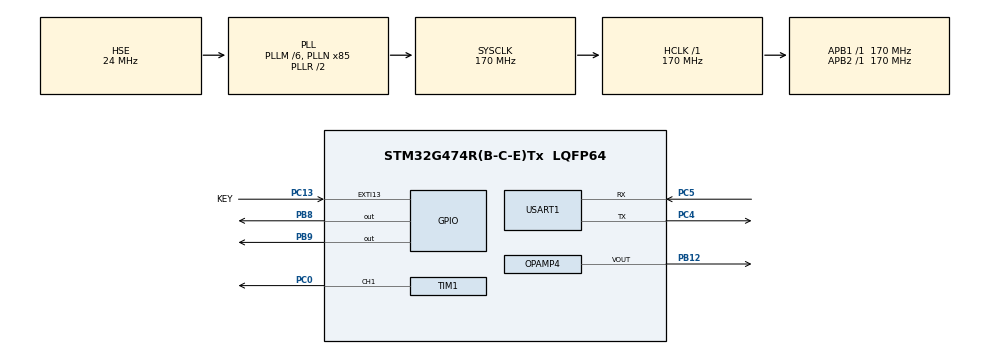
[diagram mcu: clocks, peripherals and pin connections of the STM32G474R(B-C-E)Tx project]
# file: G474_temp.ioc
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DAC4.DAC_Trigger_OUT1-DAC_OUT1_Int=DAC_TRIGGER_T6_TRGO
Dma.DAC4_CH1.0.Direction=DMA_MEMORY_TO_PERIPH
Dma.DAC4_CH1.0.EventEnable=DISABLE
Dma.DAC4_CH1.0.Instance=DMA1_Channel1
Dma.DAC4_CH1.0.MemDataAlignment=DMA_MDATAALIGN_HALFWORD
Dma.DAC4_CH1.0.MemInc=DMA_MINC_ENABLE
Dma.DAC4_CH1.0.Mode=DMA_CIRCULAR
Dma.DAC4_CH1.0.PeriphDataAlignment=DMA_PDATAALIGN_WORD
Dma.DAC4_CH1.0.PeriphInc=DMA_PINC_DISABLE
Dma.DAC4_CH1.0.Polarity=HAL_DMAMUX_REQ_GEN_RISING
Dma.DAC4_CH1.0.Priority=DMA_PRIORITY_LOW
Dma.DAC4_CH1.0.RequestNumber=1
Dma.DAC4_CH1.0.SignalID=NONE
Dma.DAC4_CH1.0.SyncEnable=DISABLE
Dma.DAC4_CH1.0.SyncPolarity=HAL_DMAMUX_SYNC_NO_EVENT
Dma.DAC4_CH1.0.SyncRequestNumber=1
Dma.DAC4_CH1.0.SyncSignalID=NONE
Dma.Request0=DAC4_CH1
Mcu.Family=STM32G4
Mcu.Name=STM32G474R(B-C-E)Tx
Mcu.Package=LQFP64
NVIC.DMA1_Channel1_IRQn=true\:0\:0\:false\:false\:true\:false\:true\:true
NVIC.EXTI15_10_IRQn=true\:0\:0\:false\:false\:true\:true\:true\:true
NVIC.PriorityGroup=NVIC_PRIORITYGROUP_4
NVIC.USART1_IRQn=true\:0\:0\:false\:false\:true\:true\:true\:true
PA13.Mode=Serial_Wire
PA13.Signal=SYS_JTMS-SWDIO
PA14.Mode=Serial_Wire
PA14.Signal=SYS_JTCK-SWCLK
PB12.Mode=Follower-DAC_OUT2-INP
PB12.Signal=OPAMP4_VOUT
PB8-BOOT0.GPIO_FM8=__NULL
PB8-BOOT0.GPIO_ModeDefaultOutputPP=GPIO_MODE_OUTPUT_OD
PB8-BOOT0.GPIO_PuPd=GPIO_PULLUP
PB8-BOOT0.GPIO_Speed=GPIO_SPEED_FREQ_VERY_HIGH
PB8-BOOT0.Signal=GPIO_Output
PB9.GPIO_ModeDefaultOutputPP=GPIO_MODE_OUTPUT_OD
PB9.GPIO_PuPd=GPIO_PULLUP
PB9.GPIO_Speed=GPIO_SPEED_FREQ_VERY_HIGH
PB9.Signal=GPIO_Output
PC0.Signal=S_TIM1_CH1
PC13.GPIO_Label=KEY
PC13.Signal=GPXTI13
PC14-OSC32_IN.Mode=LSE-External-Oscillator
PC14-OSC32_IN.Signal=RCC_OSC32_IN
PC15-OSC32_OUT.Mode=LSE-External-Oscillator
PC15-OSC32_OUT.Signal=RCC_OSC32_OUT
PC4.Mode=Asynchronous
PC4.Signal=USART1_TX
PC5.Mode=Asynchronous
PC5.Signal=USART1_RX
PF0-OSC_IN.Mode=HSE-External-Oscillator
PF0-OSC_IN.Signal=RCC_OSC_IN
PF1-OSC_OUT.Mode=HSE-External-Oscillator
PF1-OSC_OUT.Signal=RCC_OSC_OUT
ProjectManager.HeapSize=0x200
ProjectManager.StackSize=0x400
ProjectManager.TargetToolchain=MDK-ARM V5.32
RCC.ADC12Freq_Value=170000000
RCC.ADC345Freq_Value=170000000
RCC.AHBFreq_Value=170000000
RCC.APB1Freq_Value=170000000
RCC.APB1TimFreq_Value=170000000
RCC.APB2Freq_Value=170000000
RCC.APB2TimFreq_Value=170000000
RCC.CortexFreq_Value=170000000
RCC.EXTERNAL_CLOCK_VALUE=12288000
RCC.HCLKFreq_Value=170000000
RCC.HSE_VALUE=24000000
RCC.HSI48_VALUE=48000000
RCC.HSI_VALUE=16000000
RCC.PLLM=RCC_PLLM_DIV6
RCC.PLLN=85
RCC.PLLSourceVirtual=RCC_PLLSOURCE_HSE
RCC.RTCClockSelection=RCC_RTCCLKSOURCE_LSE
RCC.SYSCLKFreq_VALUE=170000000
RCC.SYSCLKSource=RCC_SYSCLKSOURCE_PLLCLK
RCC.USBFreq_Value=170000000
RCC.VCOOutputFreq_Value=340000000
SH.S_TIM1_CH1.0=TIM1_CH1,PWM Generation1 CH1
TIM1.Channel-PWM\ Generation1\ CH1=TIM_CHANNEL_1
TIM1.PeriodNoDither=2000-1
TIM1.Prescaler=17-1
TIM1.PulseNoDither_1=1000
TIM6.PeriodNoDither=170-1
TIM6.TIM_MasterOutputTrigger=TIM_TRGO_UPDATE
USART1.VirtualMode-Asynchronous=VM_ASYNC
VP_DAC4_VS_DACI1.Mode=DAC_OUT1_Int
VP_SYS_VS_DBSignals.Mode=DisableDeadBatterySignals
VP_TIM1_VS_ClockSourceINT.Mode=Internal
VP_TIM6_VS_ClockSourceINT.Mode=Enable_Timer
board=NUCLEO-G474RE

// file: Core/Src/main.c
/* USER CODE BEGIN Header */
/**
  ******************************************************************************
  * @file           : main.c
  * @brief          : Main program body
  ******************************************************************************
  * @attention
  *
  * Copyright (c) 2023 STMicroelectronics.
  * All rights reserved.
  *
  * This software is licensed under terms that can be found in the LICENSE file
  * in the root directory of this software component.
  * If no LICENSE file comes with this software, it is provided AS-IS.
  *
  ******************************************************************************
  */
/* USER CODE END Header */
#include "main.h"
#include "dac.h"
#include "dma.h"
#include "opamp.h"
#include "tim.h"
#include "usart.h"
#include "gpio.h"

/* USER CODE BEGIN Includes */
#include "delay.h"
#include "myusart1.h"
#include "OLED_I2C.h"
#include "BACKGROUND.h"
#include "TIME.h"
#include "WAVE.h"

/* USER CODE END Includes */

void SystemClock_Config(void);

int main(void)
{

  /* MCU Configuration--------------------------------------------------------*/

  /* Reset of all peripherals, Initializes the Flash interface and the Systick. */
  HAL_Init();

  /* Configure the system clock */
  SystemClock_Config();

  /* Initialize all configured peripherals */
  MX_GPIO_Init();
  MX_DMA_Init();
  MX_USART1_UART_Init();
  MX_TIM6_Init();
  MX_TIM1_Init();
  MX_DAC4_Init();
  MX_OPAMP4_Init();
  /* USER CODE BEGIN 2 */
  delay_init(170);
  MyUSART1_Init(&huart1);

  OLED_Init();
  OLED_ON();
  OLED_CLS();

  BackGround_Init();
  fre_ampShow();
  select(sine);
  sin_Generation(1);
  squ_Generation(1);
  tri_Generation(1);

  TIM6_Init(5000*500);
  HAL_OPAMP_Start(&hopamp4);
  WaveStart(sine);
  HAL_TIM_PWM_Start(&htim1,TIM_CHANNEL_1);
  /* USER CODE END 2 */

  /* Infinite loop */
  while (1)
  {

  }
}

void SystemClock_Config(void)
{
  RCC_OscInitTypeDef RCC_OscInitStruct = {0};
  RCC_ClkInitTypeDef RCC_ClkInitStruct = {0};

  /** Configure the main internal regulator output voltage
  */
  HAL_PWREx_ControlVoltageScaling(PWR_REGULATOR_VOLTAGE_SCALE1_BOOST);

  /** Initializes the RCC Oscillators according to the specified parameters
  * in the RCC_OscInitTypeDef structure.
  */
  RCC_OscInitStruct.OscillatorType = RCC_OSCILLATORTYPE_HSE;
  RCC_OscInitStruct.HSEState = RCC_HSE_ON;
  RCC_OscInitStruct.PLL.PLLState = RCC_PLL_ON;
  RCC_OscInitStruct.PLL.PLLSource = RCC_PLLSOURCE_HSE;
  RCC_OscInitStruct.PLL.PLLM = RCC_PLLM_DIV6;
  RCC_OscInitStruct.PLL.PLLN = 85;
  RCC_OscInitStruct.PLL.PLLP = RCC_PLLP_DIV2;
  RCC_OscInitStruct.PLL.PLLQ = RCC_PLLQ_DIV2;
  RCC_OscInitStruct.PLL.PLLR = RCC_PLLR_DIV2;
  if (HAL_RCC_OscConfig(&RCC_OscInitStruct) != HAL_OK)
  {
    Error_Handler();
  }

  /** Initializes the CPU, AHB and APB buses clocks
  */
  RCC_ClkInitStruct.ClockType = RCC_CLOCKTYPE_HCLK|RCC_CLOCKTYPE_SYSCLK
                              |RCC_CLOCKTYPE_PCLK1|RCC_CLOCKTYPE_PCLK2;
  RCC_ClkInitStruct.SYSCLKSource = RCC_SYSCLKSOURCE_PLLCLK;
  RCC_ClkInitStruct.AHBCLKDivider = RCC_SYSCLK_DIV1;
  RCC_ClkInitStruct.APB1CLKDivider = RCC_HCLK_DIV1;
  RCC_ClkInitStruct.APB2CLKDivider = RCC_HCLK_DIV1;

  if (HAL_RCC_ClockConfig(&RCC_ClkInitStruct, FLASH_LATENCY_4) != HAL_OK)
  {
    Error_Handler();
  }
}

/* USER CODE BEGIN 4 */
void HAL_GPIO_EXTI_Callback(uint16_t GPIO_PIN)
{
	if(KEY_Pin)
	{

	}
}
/* USER CODE END 4 */

void Error_Handler(void)
{
  __disable_irq();
  while (1)
  {
  }
}
